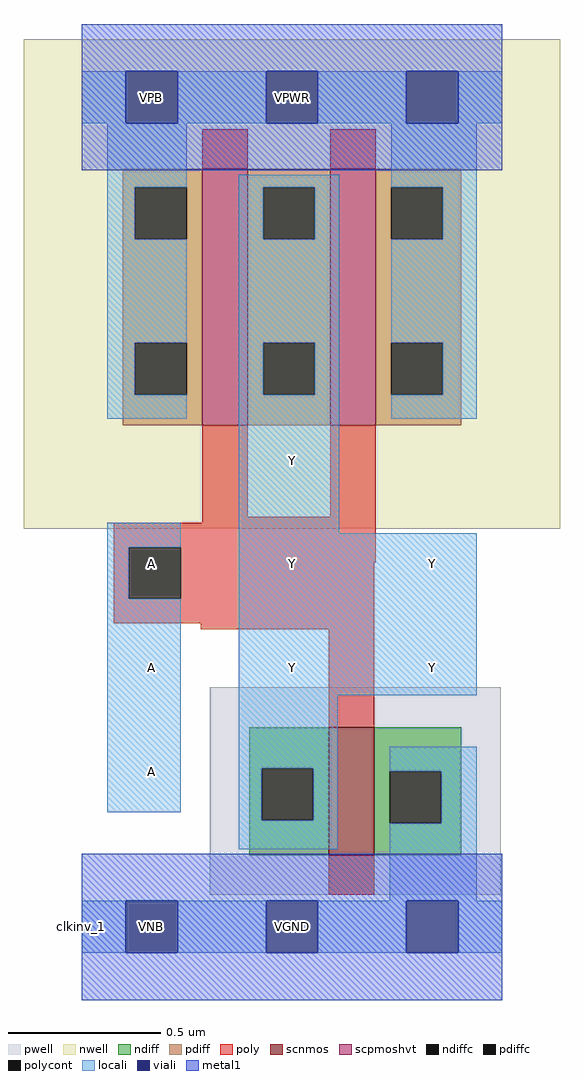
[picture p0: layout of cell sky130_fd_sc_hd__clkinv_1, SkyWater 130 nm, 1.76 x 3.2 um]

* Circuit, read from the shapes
.subckt sky130_fd_sc_hd__clkinv_1 A VGND VNB VPB VPWR Y
XM1 VGND A Y VNB sky130_fd_pr__nfet_01v8 w=0.42 l=0.15
XM2 Y A VPWR VPB sky130_fd_pr__pfet_01v8_hvt w=0.84 l=0.15 m=2
.ends

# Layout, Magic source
magic
tech sky130B
magscale 1 2
<< nwell >>
rect -38 261 314 582
<< pwell >>
rect 84 21 275 157
rect 29 -17 63 17
<< scnmos >>
rect 162 47 192 131
<< scpmoshvt >>
rect 79 329 109 497
rect 163 329 193 497
<< ndiff >>
rect 110 104 162 131
rect 110 70 118 104
rect 152 70 162 104
rect 110 47 162 70
rect 192 102 249 131
rect 192 68 202 102
rect 236 68 249 102
rect 192 47 249 68
<< pdiff >>
rect 27 485 79 497
rect 27 451 35 485
rect 69 451 79 485
rect 27 383 79 451
rect 27 349 35 383
rect 69 349 79 383
rect 27 329 79 349
rect 109 485 163 497
rect 109 451 119 485
rect 153 451 163 485
rect 109 383 163 451
rect 109 349 119 383
rect 153 349 163 383
rect 109 329 163 349
rect 193 485 249 497
rect 193 451 203 485
rect 237 451 249 485
rect 193 383 249 451
rect 193 349 203 383
rect 237 349 249 383
rect 193 329 249 349
<< ndiffc >>
rect 118 70 152 104
rect 202 68 236 102
<< pdiffc >>
rect 35 451 69 485
rect 35 349 69 383
rect 119 451 153 485
rect 119 349 153 383
rect 203 451 237 485
rect 203 349 237 383
<< poly >>
rect 79 497 109 523
rect 163 497 193 523
rect 79 269 109 329
rect 163 269 193 329
rect 79 265 193 269
rect 21 249 193 265
rect 21 215 31 249
rect 65 239 193 249
rect 65 215 192 239
rect 21 199 192 215
rect 78 195 192 199
rect 162 131 192 195
rect 162 21 192 47
<< polycont >>
rect 31 215 65 249
<< locali >>
rect 0 527 29 561
rect 63 527 121 561
rect 155 527 213 561
rect 247 527 276 561
rect 17 485 69 527
rect 17 451 35 485
rect 17 383 69 451
rect 17 349 35 383
rect 17 333 69 349
rect 103 485 169 493
rect 103 451 119 485
rect 153 451 169 485
rect 103 383 169 451
rect 103 349 119 383
rect 153 349 169 383
rect 17 249 65 265
rect 17 215 31 249
rect 17 75 65 215
rect 103 258 169 349
rect 203 485 259 527
rect 237 451 259 485
rect 203 383 259 451
rect 237 349 259 383
rect 203 333 259 349
rect 103 152 259 258
rect 103 104 168 152
rect 103 70 118 104
rect 152 70 168 104
rect 103 51 168 70
rect 202 102 259 118
rect 236 68 259 102
rect 202 17 259 68
rect 0 -17 29 17
rect 63 -17 121 17
rect 155 -17 213 17
rect 247 -17 276 17
<< viali >>
rect 29 527 63 561
rect 121 527 155 561
rect 213 527 247 561
rect 29 -17 63 17
rect 121 -17 155 17
rect 213 -17 247 17
<< metal1 >>
rect 0 561 276 592
rect 0 527 29 561
rect 63 527 121 561
rect 155 527 213 561
rect 247 527 276 561
rect 0 496 276 527
rect 0 17 276 48
rect 0 -17 29 17
rect 63 -17 121 17
rect 155 -17 213 17
rect 247 -17 276 17
rect 0 -48 276 -17
<< labels >>
flabel locali s 213 153 247 187 0 FreeSans 250 0 0 0 Y
port 6 nsew signal output
flabel locali s 213 221 247 255 0 FreeSans 250 0 0 0 Y
port 6 nsew signal output
flabel locali s 121 289 155 323 0 FreeSans 250 0 0 0 Y
port 6 nsew signal output
flabel locali s 121 221 155 255 0 FreeSans 250 0 0 0 Y
port 6 nsew signal output
flabel locali s 121 153 155 187 0 FreeSans 250 0 0 0 Y
port 6 nsew signal output
flabel locali s 29 85 63 119 0 FreeSans 250 0 0 0 A
port 1 nsew signal input
flabel locali s 29 153 63 187 0 FreeSans 250 0 0 0 A
port 1 nsew signal input
flabel locali s 29 221 63 255 0 FreeSans 250 0 0 0 A
port 1 nsew signal input
flabel nwell s 29 527 63 561 0 FreeSans 200 0 0 0 VPB
port 4 nsew power bidirectional
flabel pwell s 29 -17 63 17 0 FreeSans 200 0 0 0 VNB
port 3 nsew ground bidirectional
flabel metal1 s 29 -17 63 17 0 FreeSans 200 0 0 0 VGND
port 2 nsew ground bidirectional abutment
flabel metal1 s 29 527 63 561 0 FreeSans 200 0 0 0 VPWR
port 5 nsew power bidirectional abutment
rlabel comment s 0 0 0 0 4 clkinv_1
rlabel metal1 s 0 -48 276 48 1 VGND
port 2 nsew ground bidirectional abutment
rlabel metal1 s 0 496 276 592 1 VPWR
port 5 nsew power bidirectional abutment
<< properties >>
string FIXED_BBOX 0 0 276 544
string GDS_END 3285080
string GDS_FILE $PDKPATH/libs.ref/sky130_fd_sc_hd/gds/sky130_fd_sc_hd.gds
string GDS_START 3281306
string LEFclass CORE
string LEFsite unithd
string LEFsymmetry X Y R90
string path 0.000 0.000 6.900 0.000 
<< end >>
